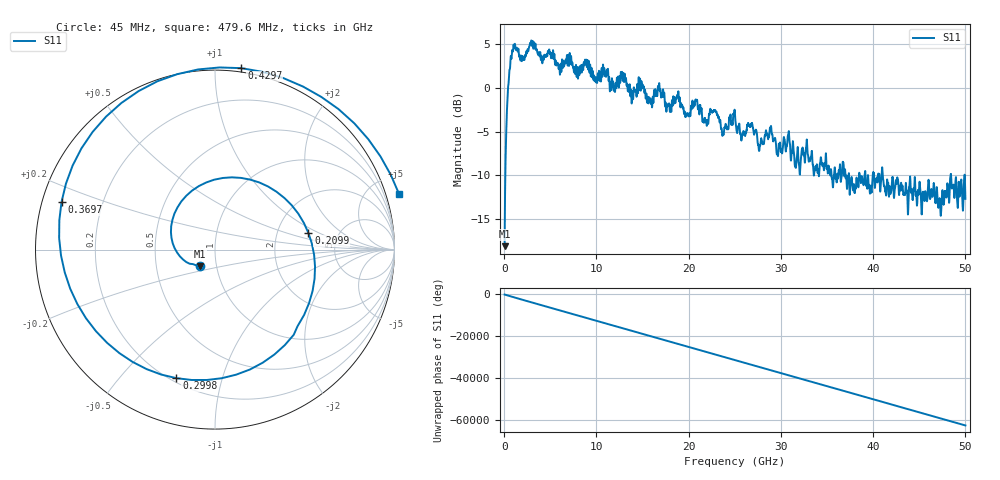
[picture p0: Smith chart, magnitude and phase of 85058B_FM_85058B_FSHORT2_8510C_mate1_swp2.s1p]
!Created with skrf (http://scikit-rf.org).
# Hz S RI R 50.0
!freq ReS11 ImS11
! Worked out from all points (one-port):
!   10001 points, 45 MHz to 50 GHz, reference 50 ohm
!   lowest |S11| = -18.2 dB at 45 MHz (marker M1), VSWR 1.28, Z = 41.8 - j7.89 ohm
!   |S11| at or under -10 dB: 37.38 GHz to 38.47 GHz (1.085 GHz wide, 2.86 % of centre); 41.03 GHz to 48.4 GHz (7.365 GHz wide, 16.5 % of centre); 48.45 GHz to 49.92 GHz (1.471 GHz wide, 2.99 % of centre) (the widest 3 of 20)
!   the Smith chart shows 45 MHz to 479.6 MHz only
!   S11 on the Smith chart (normalised r, x): 45 MHz: 0.84, -0.16; 209.9 MHz: 3.02, +0.78; 299.8 MHz: 0.22, -0.72; 369.7 MHz: 0.06, +0.15; 429.7 MHz: -0.02, +1.16; 479.6 MHz: -1.55, +6.45
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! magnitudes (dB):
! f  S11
! 45 MHz  -18.2
! 209.9 MHz  -5.5
! 299.8 MHz  -2.5
! 369.7 MHz  -1.0
! 429.7 MHz  0.2
! 479.6 MHz  0.6
! 789.3 MHz  3.4
! 1.169 GHz  5.1
! 1.978 GHz  3.7
! 3.022 GHz  4.9
! 6.289 GHz  3.1
! 12.53 GHz  1.1
! 15.83 GHz  -1.2
! 16.72 GHz  -0.2
! 18.78 GHz  -0.9
! 19.84 GHz  -3.0
! 20.85 GHz  -1.4
! 21.76 GHz  -3.5
! 22.83 GHz  -2.6
! 23.72 GHz  -5.2
! 25.02 GHz  -3.0
! 31.27 GHz  -6.6
! 37.51 GHz  -11.4
! 43.76 GHz  -14.2
! 46.46 GHz  -12.3
! 47.21 GHz  -12.7
! 48.53 GHz  -11.5
! 50 GHz  -12.7
